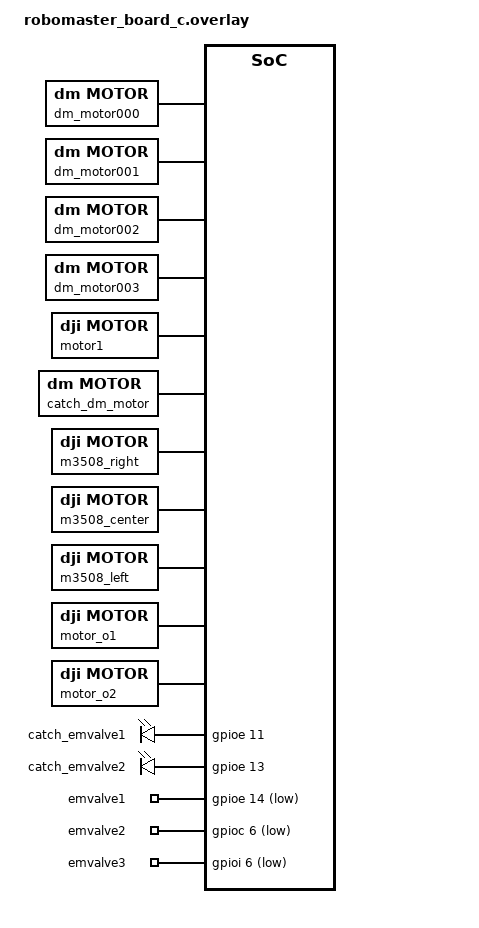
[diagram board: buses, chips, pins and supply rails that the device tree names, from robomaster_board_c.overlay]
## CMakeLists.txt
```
cmake_minimum_required(VERSION 3.20.0)

find_package(Zephyr REQUIRED HINTS $ENV{ZEPHYR_BASE})
project(team_usb_integrated)

target_sources(app PRIVATE
    src/main.c
    src/usb_control.c
    src/module_r1_catch.c
    src/module_lift.c
    src/module_sbus2.c
)
```

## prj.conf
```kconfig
CONFIG_MAIN_THREAD_PRIORITY=7
CONFIG_SYSTEM_WORKQUEUE_STACK_SIZE=4096

CONFIG_LOG=y
CONFIG_LOG_MODE_DEFERRED=y
CONFIG_LOG_BUFFER_SIZE=4096
CONFIG_CBPRINTF_FP_SUPPORT=y
CONFIG_UART_CONSOLE=y

CONFIG_ARES=y
CONFIG_ARES_COMM_LIB=y
CONFIG_DUAL_PROPOSE_PROTOCOL=y
CONFIG_USB_BULK_INTERFACE=y
CONFIG_UDC_DRIVER_HIGH_SPEED_SUPPORT_ENABLED=n
CONFIG_USBD_MAX_SPEED_FULL=y
CONFIG_NET_BUF=y

CONFIG_MOTOR=y
CONFIG_MOTOR_DJI=y
CONFIG_MOTOR_DM=y

CONFIG_CAN=y
CONFIG_CAN_INIT_PRIORITY=80

CONFIG_PID=y
CONFIG_GPIO=y
```

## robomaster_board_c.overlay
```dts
&cdc_acm_uart0 {
	status = "disabled";
};

&usart6 {
	status = "disabled";
};

/ {
	lift_mit: lift_mit {
		#controller-cells = <0>;
		compatible = "pid,mit";
		k_p = "5";
		k_i = "0.0";
		k_d = "1.5";
		offset = "1.2";
	};

	catch_angle_pid: catch_angle_pid {
		#controller-cells = <0>;
		compatible = "pid,single";
		k_p = "2.0";
		k_i = "0";
		k_d = "10.0";
	};

	catch_speed_pid: catch_speed_pid {
		#controller-cells = <0>;
		compatible = "pid,single";
		k_p = "0.3";
		k_i = "0";
		k_d = "0.02";
	};

	catch_dm_mit: catch_dm_mit {
		compatible = "pid,mit";
		k_p = "5.0";
		k_d = "1.0";
	};

	speed_pid_m3508: speed_pid_m3508 {
		compatible = "pid,single";
		#controller-cells = <0>;
		k_p = "0.2";
		k_i = "10000";
		k_d = "0.01";
		i_max = "25";
		detri_lpf = "0.95";
		out_max = "1.8";
	};

	angle_pid_m3508: angle_pid_m3508 {
		compatible = "pid,single";
		#controller-cells = <0>;
		k_p = "2";
		k_i = "0";
		k_d = "0.3";
		out_max = "200";
	};

	angle_pid_sbus2: angle_pid_sbus2 {
		#controller-cells = <0>;
		compatible = "pid,single";
		k_p = "2";
		k_i = "0";
		k_d = "10";
	};

	speed_pid_sbus2: speed_pid_sbus2 {
		#controller-cells = <0>;
		compatible = "pid,single";
		k_p = "0.3";
		k_i = "0";
		k_d = "0.02";
	};

	dm_motor000: dm_motor000 {
		compatible = "dm,motor";
		id = <1>;
		rx_id = <0x1A>;
		tx_id = <0x0A>;
		v_max = "785";
		p_max = "95.5";
		status = "okay";
		can_channel = <&can1>;
		controllers = <&lift_mit>;
		capabilities = "mit";
		t_max = "5";
		freq = <1000>;
	};

	dm_motor001: dm_motor001 {
		compatible = "dm,motor";
		id = <2>;
		rx_id = <0x1B>;
		tx_id = <0x0B>;
		v_max = "785";
		p_max = "95.5";
		status = "okay";
		can_channel = <&can1>;
		controllers = <&lift_mit>;
		capabilities = "mit";
		t_max = "5";
		freq = <1000>;
	};

	dm_motor002: dm_motor002 {
		compatible = "dm,motor";
		id = <3>;
		rx_id = <0x1C>;
		tx_id = <0x0C>;
		v_max = "785";
		p_max = "95.5";
		status = "okay";
		can_channel = <&can1>;
		controllers = <&lift_mit>;
		capabilities = "mit";
		t_max = "5";
		freq = <1000>;
	};

	dm_motor003: dm_motor003 {
		compatible = "dm,motor";
		id = <4>;
		rx_id = <0x1D>;
		tx_id = <0x0D>;
		v_max = "785";
		p_max = "95.5";
		status = "okay";
		can_channel = <&can1>;
		controllers = <&lift_mit>;
		capabilities = "mit";
		t_max = "5";
		freq = <1000>;
	};

	motor1: motor1 {
		compatible = "dji,motor";
		is_m2006;
		id = <1>;
		rx_id = <0x201>;
		tx_id = <0x200>;
		gear_ratio = "36.0";
		status = "okay";
		can_channel = <&can2>;
		controllers = <&catch_angle_pid &catch_speed_pid>;
		capabilities = "angle", "speed";
	};

	catch_dm_motor: catch_dm_motor {
		compatible = "dm,motor";
		id = <5>;
		rx_id = <0x19>;
		tx_id = <0x09>;
		v_max = "785";
		status = "okay";
		can_channel = <&can1>;
		controllers = <&catch_dm_mit>;
		capabilities = "mit";
		v_max = "0.5";
		t_max = "5";
		freq = <200>;
	};

	m3508_right: m3508_right {
		compatible = "dji,motor";
		is_m3508;
		id = <5>;
		rx_id = <0x205>;
		tx_id = <0x1FF>;
		gear_ratio = "19.2";
		status = "okay";
		can_channel = <&can2>;
		controllers = <&angle_pid_m3508 &speed_pid_m3508>;
		capabilities = "angle", "speed";
	};

	m3508_center: m3508_center {
		compatible = "dji,motor";
		is_m3508;
		id = <6>;
		rx_id = <0x206>;
		tx_id = <0x1FF>;
		gear_ratio = "19.2";
		status = "okay";
		can_channel = <&can2>;
		controllers = <&angle_pid_m3508 &speed_pid_m3508>;
		capabilities = "angle", "speed";
	};

	m3508_left: m3508_left {
		compatible = "dji,motor";
		is_m3508;
		id = <7>;
		rx_id = <0x207>;
		tx_id = <0x1FF>;
		gear_ratio = "19.2";
		status = "okay";
		can_channel = <&can2>;
		controllers = <&angle_pid_m3508 &speed_pid_m3508>;
		capabilities = "angle", "speed";
	};

	motor_o1: motor_o1 {
		compatible = "dji,motor";
		is_m2006;
		id = <2>;
		rx_id = <0x202>;
		tx_id = <0x200>;
		gear_ratio = "36";
		status = "okay";
		can_channel = <&can2>;
		controllers = <&angle_pid_sbus2 &speed_pid_sbus2>;
		capabilities = "angle", "speed";
	};

	motor_o2: motor_o2 {
		compatible = "dji,motor";
		is_m2006;
		id = <3>;
		rx_id = <0x203>;
		tx_id = <0x200>;
		gear_ratio = "36";
		status = "okay";
		can_channel = <&can2>;
		controllers = <&angle_pid_sbus2 &speed_pid_sbus2>;
		capabilities = "angle", "speed";
	};

	catch_valves {
		compatible = "gpio-leds";

		catch_emvalve1: catch_emvalve1 {
			gpios = <&gpioe 11 GPIO_ACTIVE_HIGH>;
			label = "catch_emvalve1";
		};

		catch_emvalve2: catch_emvalve2 {
			gpios = <&gpioe 13 GPIO_ACTIVE_HIGH>;
			label = "catch_emvalve2";
		};
	};

	sbus_relays {
		compatible = "gpio-keys";

		emvalve1: emvalve1 {
			gpios = <&gpioe 14 GPIO_ACTIVE_LOW>;
			label = "emvalve1";
		};

		emvalve2: emvalve2 {
			gpios = <&gpioc 6 GPIO_ACTIVE_LOW>;
			label = "emvalve2";
		};

		emvalve3: emvalve3 {
			gpios = <&gpioi 6 GPIO_ACTIVE_LOW>;
			label = "emvalve3";
		};
	};
};
```

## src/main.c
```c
#include <string.h>

#include <zephyr/kernel.h>
#include <zephyr/logging/log.h>

#include "control_packet.h"
#include "module_lift.h"
#include "module_r1_catch.h"
#include "module_sbus2.h"
#include "usb_control.h"

LOG_MODULE_REGISTER(team_usb_integrated, LOG_LEVEL_INF);

int main(void)
{
	int ret;
	struct team_usb_packet packet;

	memset(&packet, 0, sizeof(packet));

	LOG_INF("team usb integrated start");

	ret = usb_control_init();
	if (ret != 0) {
		return ret;
	}

	ret = module_r1_catch_init();
	if (ret != 0) {
		LOG_WRN("R1 catch module unavailable: %d", ret);
	}

	ret = module_lift_init();
	if (ret != 0) {
		LOG_WRN("lift module unavailable: %d", ret);
	}

	ret = module_sbus2_init();
	if (ret != 0) {
		LOG_WRN("sbus_2 module unavailable: %d", ret);
	}

	while (1) {
		bool packet_updated = usb_control_poll(&packet, K_MSEC(5));

		module_r1_catch_update(&packet, packet_updated);
		module_lift_update(&packet, packet_updated);
		module_sbus2_update(&packet, packet_updated);
	}

	return 0;
}
```

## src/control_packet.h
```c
#ifndef TEAM_USB_CONTROL_PACKET_H_
#define TEAM_USB_CONTROL_PACKET_H_

#include <stdbool.h>
#include <stdint.h>

#include <zephyr/sys/util.h>

#define TEAM_USB_SYNC_ID 0x0303
#define TEAM_USB_FLOAT_NUM 7
#define TEAM_USB_BUTTON_MASK_NUM 3

enum team_usb_data_index {
	TEAM_USB_IDX_BUTTONS_0_15 = 0,
	TEAM_USB_IDX_BUTTONS_16_31,
	TEAM_USB_IDX_BUTTONS_32_47,
	TEAM_USB_IDX_LX,
	TEAM_USB_IDX_LY,
	TEAM_USB_IDX_RX,
	TEAM_USB_IDX_RY,
};

struct team_usb_packet {
	float raw[TEAM_USB_FLOAT_NUM];
	uint16_t button_masks[TEAM_USB_BUTTON_MASK_NUM];
	uint32_t rx_count;
};

static inline uint16_t team_usb_float_to_mask(float value)
{
	if (value <= 0.0f) {
		return 0U;
	}

	if (value >= 65535.0f) {
		return UINT16_MAX;
	}

	return (uint16_t)(value + 0.5f);
}

static inline bool team_usb_button_pressed(const struct team_usb_packet *packet, uint8_t button_id)
{
	return (packet->button_masks[button_id / 16U] & BIT(button_id % 16U)) != 0U;
}

#endif
```

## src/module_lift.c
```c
#include <errno.h>
#include <stdbool.h>

#include <zephyr/device.h>
#include <zephyr/devicetree.h>
#include <zephyr/drivers/motor.h>
#include <zephyr/kernel.h>
#include <zephyr/logging/log.h>
#include <zephyr/sys/util.h>

#include "module_lift.h"

LOG_MODULE_REGISTER(team_usb_lift, LOG_LEVEL_INF);

#define CTRL_BUTTON_A_ID 3U
#define CTRL_BUTTON_Y_ID 6U

#define DMOTOR_NODE1 DT_NODELABEL(dm_motor000)
#define DMOTOR_NODE2 DT_NODELABEL(dm_motor001)
#define DMOTOR_NODE3 DT_NODELABEL(dm_motor002)
#define DMOTOR_NODE4 DT_NODELABEL(dm_motor003)

static const struct device *dm_motor[4] = {
	DEVICE_DT_GET(DMOTOR_NODE1),
	DEVICE_DT_GET(DMOTOR_NODE2),
	DEVICE_DT_GET(DMOTOR_NODE3),
	DEVICE_DT_GET(DMOTOR_NODE4),
};

static float action[4];
static const int rank_map[4] = {-1, -1, 1, 1};
static const float motor_ff[4] = {0.5f, 1.8f, 0.5f, 1.8f};
static const float gear_angle_ac[] = {0.0f, 360.0f, 720.0f, 1440.0f, 3600.0f, 4800.0f};
static const float gear_angle_bd[] = {0.0f, 410.0f, 770.0f, 1490.0f, 3650.0f, 4850.0f};

static int current_gear;
static bool last_a_pressed;
static bool last_y_pressed;
static bool module_ready;

static void lifthigh(int id, float target_deg)
{
	float torque_ff = 0.0f;

	if (!device_is_ready(dm_motor[id])) {
		return;
	}

	if (target_deg > 0.0f) {
		torque_ff = motor_ff[id];
	} else if (target_deg < 0.0f) {
		torque_ff = -motor_ff[id];
	}
	// LOG_INF("current_gear: %d", current_gear);
	motor_set_mit(dm_motor[id], 0.0f, target_deg, torque_ff);
}

static void hold_current_target(void)
{
	for (int i = 0; i < 4; i++) {
		lifthigh(i, action[i]);
	}
}

static void apply_current_gear(void)
{
	float target_angle_ac = gear_angle_ac[current_gear];
	float target_angle_bd = gear_angle_bd[current_gear];

	action[0] = target_angle_ac * rank_map[0];
	action[1] = target_angle_bd * rank_map[1];
	action[2] = target_angle_ac * rank_map[2];
	action[3] = target_angle_bd * rank_map[3];
	LOG_INF("lift gear=%d/%d", current_gear + 1, ARRAY_SIZE(gear_angle_ac));
}

static void gear_step(int delta)
{
	int prev_gear = current_gear;

	if (delta > 0 && current_gear < (int)ARRAY_SIZE(gear_angle_ac) - 1) {
		current_gear++;
	} else if (delta < 0 && current_gear > 0) {
		current_gear--;
	}

	if (current_gear == prev_gear) {
		return;
	}

	apply_current_gear();
}

int module_lift_init(void)
{
	for (int i = 0; i < 4; i++) {
		if (!device_is_ready(dm_motor[i])) {
			LOG_WRN("lift motor %d not ready, module disabled", i);
			return -ENODEV;
		}

		motor_control(dm_motor[i], ENABLE_MOTOR);
		k_msleep(10);
		motor_set_mode(dm_motor[i], MIT);
		k_msleep(10);
	}

	apply_current_gear();
	module_ready = true;
	LOG_INF("lift module ready");
	return 0;
}

void module_lift_update(const struct team_usb_packet *packet, bool packet_updated)
{
	bool a_pressed;
	bool y_pressed;

	if (!module_ready) {
		return;
	}

	if (packet_updated) {
		a_pressed = team_usb_button_pressed(packet, CTRL_BUTTON_A_ID);
		y_pressed = team_usb_button_pressed(packet, CTRL_BUTTON_Y_ID);

		if (y_pressed && !last_y_pressed) {
			gear_step(1);
		}

		if (a_pressed && !last_a_pressed) {
			gear_step(-1);
		}

		last_a_pressed = a_pressed;
		last_y_pressed = y_pressed;
	}

	hold_current_target();
}
```

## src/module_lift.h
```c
#ifndef TEAM_USB_MODULE_LIFT_H_
#define TEAM_USB_MODULE_LIFT_H_

#include <stdbool.h>

#include "control_packet.h"

int module_lift_init(void);
void module_lift_update(const struct team_usb_packet *packet, bool packet_updated);

#endif
```

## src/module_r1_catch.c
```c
#include <errno.h>
#include <stdbool.h>

#include <zephyr/device.h>
#include <zephyr/devicetree.h>
#include <zephyr/drivers/gpio.h>
#include <zephyr/drivers/motor.h>
#include <zephyr/kernel.h>
#include <zephyr/logging/log.h>

#include "module_r1_catch.h"

LOG_MODULE_REGISTER(team_usb_r1_catch, LOG_LEVEL_INF);

/* Button IDs (bits in the USB packet) */
#define CTRL_BTN_SWITCH  43U
#define CTRL_BTN_PREPARE 40U
#define CTRL_BTN_RAISE   41U
#define CTRL_BTN_ATTACK  42U

/* Posture states — flow tracking / logging only */
enum posture_state {
	POSTURE_P1,	/* idle:   arm=0°,    DM=0°,   valve2=off */
	POSTURE_P2,	/* ready4pluggin done:  arm=90°, DM=0°,   valve2=on  */
	POSTURE_P3,	/* raise:  arm=90°,   DM=90°,  valve2=on  */
	POSTURE_P4,	/* attack: arm=180.0°, DM=90.0°, valve2=off */
};

#define CATCH_ARM_NODE    DT_NODELABEL(motor1)
#define CATCH_DM_NODE     DT_NODELABEL(catch_dm_motor)
#define CATCH_VALVE_1_NODE DT_NODELABEL(catch_emvalve1)
#define CATCH_VALVE_2_NODE DT_NODELABEL(catch_emvalve2)

static const struct device    *catch_arm_motor = DEVICE_DT_GET(CATCH_ARM_NODE);
static const struct device    *catch_dm_motor  = DEVICE_DT_GET(CATCH_DM_NODE);
static const struct gpio_dt_spec catch_valve1  = GPIO_DT_SPEC_GET(CATCH_VALVE_1_NODE, gpios);
static const struct gpio_dt_spec catch_valve2  = GPIO_DT_SPEC_GET(CATCH_VALVE_2_NODE, gpios);

/* ---- MCU-persisted state (target values, not posture-enum-indexed) ---- */
static enum posture_state current_posture = POSTURE_P1;
static float   arm_target    = 0.0f;
static float   dm_target     = 0.0f;
static bool    valve2_target = false;
static bool    valve1_target = false; /* controlled by Button 43 (Switch) */

/* ---- Edge-detection history (Prepare / Raise / Attack only) ---- */
static bool prepare_prev;
static bool raise_prev;
static bool attack_prev;
static bool module_ready;

/* ------------------------------------------------------------------ */
/*  Apply the current MCU state to all actuators (called every cycle)  */
/* ------------------------------------------------------------------ */
static void apply_current_state(void)
{
	motor_set_angle(catch_arm_motor, arm_target);
	motor_set_mit(catch_dm_motor, 0.0f, dm_target, 0.0f);
	gpio_pin_set_dt(&catch_valve2, valve2_target);
	gpio_pin_set_dt(&catch_valve1, valve1_target);
}

/* ------------------------------------------------------------------ */
/*  Sequence handlers (blocking k_msleep — mirror R1_catch/main.c)     */
/* ------------------------------------------------------------------ */

/* ready4pluggin — Prepare 序列
 *   arm 45° (中间角度防飞出) → arm 90° → valve2 ON → DM 0° */
static void handle_prepare(void)
{
	LOG_INF("prepare: arm → 45°");
	arm_target = 45.0f;
	k_msleep(100);

	arm_target = 90.0f;
	LOG_INF("prepare: arm → 90°");
	k_msleep(600);

	valve2_target = true;
	gpio_pin_set_dt(&catch_valve2, true);
	LOG_INF("prepare: valve2 ON");
	k_msleep(500);

	dm_target = 0.0f;
	current_posture = POSTURE_P2;
	LOG_INF("prepare done → P2");
}

/* Raise — DM 90° */
static void handle_raise(void)
{
	dm_target = 90.0f;
	current_posture = POSTURE_P3;
	LOG_INF("raise: DM → 90° → P3");
}

/* ready4attack — Attack 序列
 *   valve2 OFF → arm 179.5° */
static void handle_attack(void)
{
	valve2_target = false;
	gpio_pin_set_dt(&catch_valve2, false);
	LOG_INF("attack: valve2 OFF");
	k_msleep(300);

	arm_target = 180.0f;
	dm_target = 90.0f;
	current_posture = POSTURE_P4;
	LOG_INF("attack: arm → 180.0°, DM → 90.0° → P4");
}

/* ------------------------------------------------------------------ */
/*  Init                                                                */
/* ------------------------------------------------------------------ */
int module_r1_catch_init(void)
{
	if (!device_is_ready(catch_arm_motor) || !device_is_ready(catch_dm_motor)) {
		LOG_WRN("R1 catch motors not ready, module disabled");
		return -ENODEV;
	}

	if (!device_is_ready(catch_valve1.port) || !device_is_ready(catch_valve2.port)) {
		LOG_WRN("R1 catch valves not ready, module disabled");
		return -ENODEV;
	}

	gpio_pin_configure_dt(&catch_valve1, GPIO_OUTPUT_INACTIVE);
	gpio_pin_configure_dt(&catch_valve2, GPIO_OUTPUT_INACTIVE);

	motor_control(catch_arm_motor, SET_ZERO);
	motor_control(catch_dm_motor, SET_ZERO);
	k_msleep(500);
	motor_control(catch_dm_motor, ENABLE_MOTOR);
	motor_set_mode(catch_dm_motor, MIT);

	/* Initial state: P1 (idle) */
	arm_target   = 0.0f;
	dm_target    = 0.0f;
	valve2_target = false;
	valve1_target = false;
	apply_current_state();

	module_ready = true;
	LOG_INF("R1 catch module ready");
	return 0;
}

/* ------------------------------------------------------------------ */
/*  Update — called from main loop every ~5 ms                         */
/* ------------------------------------------------------------------ */
void module_r1_catch_update(const struct team_usb_packet *packet, bool packet_updated)
{
	if (!module_ready) {
		return;
	}

	if (packet_updated) {
		/* ---- Button 43 (Switch) — direct state mapping ---- */
		valve1_target = team_usb_button_pressed(packet, CTRL_BTN_SWITCH);

		/* ---- Button 40 (Prepare) — edge → ready4pluggin  ---- */
		{
			bool pressed = team_usb_button_pressed(packet, CTRL_BTN_PREPARE);
			if (pressed && !prepare_prev) {
				handle_prepare();
			}
			prepare_prev = pressed;
		}

		/* ---- Button 41 (Raise) — edge → DM 90°          ---- */
		{
			bool pressed = team_usb_button_pressed(packet, CTRL_BTN_RAISE);
			if (pressed && !raise_prev) {
				handle_raise();
			}
			raise_prev = pressed;
		}

		/* ---- Button 42 (Attack) — edge → ready4attack   ---- */
		{
			bool pressed = team_usb_button_pressed(packet, CTRL_BTN_ATTACK);
			if (pressed && !attack_prev) {
				handle_attack();
			}
			attack_prev = pressed;
		}
	}

	/* Drive hardware from MCU state (every cycle, regardless of packet) */
	apply_current_state();
}
```

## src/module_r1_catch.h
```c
#ifndef TEAM_USB_MODULE_R1_CATCH_H_
#define TEAM_USB_MODULE_R1_CATCH_H_

#include <stdbool.h>

#include "control_packet.h"

int module_r1_catch_init(void);
void module_r1_catch_update(const struct team_usb_packet *packet, bool packet_updated);

#endif
```

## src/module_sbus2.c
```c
#include <errno.h>
#include <stdbool.h>

#include <zephyr/device.h>
#include <zephyr/devicetree.h>
#include <zephyr/drivers/gpio.h>
#include <zephyr/drivers/motor.h>
#include <zephyr/logging/log.h>

#include "module_sbus2.h"

LOG_MODULE_REGISTER(team_usb_sbus2, LOG_LEVEL_INF);

#define CTRL_BTN_M3508_LEFT 32U
#define CTRL_BTN_M3508_CENTER 33U
#define CTRL_BTN_M3508_RIGHT 34U
#define CTRL_BTN_M2006_LEFT 35U
#define CTRL_BTN_M2006_RIGHT 36U
#define CTRL_BTN_RELAY_LEFT 37U
#define CTRL_BTN_RELAY_CENTER 38U
#define CTRL_BTN_RELAY_RIGHT 39U

#define M3508_LEFT_EXTEND_ANGLE 240.5f
#define M3508_LEFT_RETRACT_ANGLE -5.0f
#define M3508_CENTER_EXTEND_ANGLE -240.5f
#define M3508_CENTER_RETRACT_ANGLE 10.0f
#define M3508_RIGHT_EXTEND_ANGLE -240.5f
#define M3508_RIGHT_RETRACT_ANGLE 10.0f

#define M2006_LEFT_DOWN_ANGLE -170.0f
#define M2006_RIGHT_DOWN_ANGLE 170.0f
#define M2006_UP_ANGLE 0.0f

#define M3508_LEFT_NODE DT_NODELABEL(m3508_left)
#define M3508_CENTER_NODE DT_NODELABEL(m3508_center)
#define M3508_RIGHT_NODE DT_NODELABEL(m3508_right)
#define M2006_LEFT_NODE DT_NODELABEL(motor_o1)
#define M2006_RIGHT_NODE DT_NODELABEL(motor_o2)
#define RELAY_LEFT_NODE DT_NODELABEL(emvalve1)
#define RELAY_CENTER_NODE DT_NODELABEL(emvalve2)
#define RELAY_RIGHT_NODE DT_NODELABEL(emvalve3)

static const struct device *m3508_left = DEVICE_DT_GET(M3508_LEFT_NODE);
static const struct device *m3508_center = DEVICE_DT_GET(M3508_CENTER_NODE);
static const struct device *m3508_right = DEVICE_DT_GET(M3508_RIGHT_NODE);
static const struct device *m2006_left = DEVICE_DT_GET(M2006_LEFT_NODE);
static const struct device *m2006_right = DEVICE_DT_GET(M2006_RIGHT_NODE);
static const struct gpio_dt_spec relay_left = GPIO_DT_SPEC_GET(RELAY_LEFT_NODE, gpios);
static const struct gpio_dt_spec relay_center = GPIO_DT_SPEC_GET(RELAY_CENTER_NODE, gpios);
static const struct gpio_dt_spec relay_right = GPIO_DT_SPEC_GET(RELAY_RIGHT_NODE, gpios);

static bool module_ready;
static uint32_t log_count;

int module_sbus2_init(void)
{
	if (!device_is_ready(m3508_left) || !device_is_ready(m3508_center) ||
	    !device_is_ready(m3508_right) || !device_is_ready(m2006_left) ||
	    !device_is_ready(m2006_right)) {
		LOG_WRN("sbus_2 motors not ready, module disabled");
		return -ENODEV;
	}

	if (!device_is_ready(relay_left.port) || !device_is_ready(relay_center.port) ||
	    !device_is_ready(relay_right.port)) {
		LOG_WRN("sbus_2 relays not ready, module disabled");
		return -ENODEV;
	}

	motor_control(m3508_left, ENABLE_MOTOR);
	motor_control(m3508_center, ENABLE_MOTOR);
	motor_control(m3508_right, ENABLE_MOTOR);
	motor_control(m2006_left, ENABLE_MOTOR);
	motor_control(m2006_right, ENABLE_MOTOR);

	gpio_pin_configure_dt(&relay_left, GPIO_OUTPUT_INACTIVE);
	gpio_pin_configure_dt(&relay_center, GPIO_OUTPUT_INACTIVE);
	gpio_pin_configure_dt(&relay_right, GPIO_OUTPUT_INACTIVE);

	module_ready = true;
	LOG_INF("sbus_2 module ready");
	return 0;
}

void module_sbus2_update(const struct team_usb_packet *packet, bool packet_updated)
{
	bool m3508_left_extend;
	bool m3508_center_extend;
	bool m3508_right_extend;
	bool m2006_left_down;
	bool m2006_right_down;
	bool relay_left_on;
	bool relay_center_on;
	bool relay_right_on;
	float m3508_left_angle;
	float m3508_center_angle;
	float m3508_right_angle;
	float m2006_left_angle;
	float m2006_right_angle;

	if (!module_ready) {
		return;
	}

	m3508_left_extend = team_usb_button_pressed(packet, CTRL_BTN_M3508_LEFT);
	m3508_center_extend = team_usb_button_pressed(packet, CTRL_BTN_M3508_CENTER);
	m3508_right_extend = team_usb_button_pressed(packet, CTRL_BTN_M3508_RIGHT);
	m2006_left_down = team_usb_button_pressed(packet, CTRL_BTN_M2006_LEFT);
	m2006_right_down = team_usb_button_pressed(packet, CTRL_BTN_M2006_RIGHT);
	relay_left_on = team_usb_button_pressed(packet, CTRL_BTN_RELAY_LEFT);
	relay_center_on = team_usb_button_pressed(packet, CTRL_BTN_RELAY_CENTER);
	relay_right_on = team_usb_button_pressed(packet, CTRL_BTN_RELAY_RIGHT);

	m3508_left_angle = m3508_left_extend ? M3508_LEFT_EXTEND_ANGLE : M3508_LEFT_RETRACT_ANGLE;
	m3508_center_angle =
		m3508_center_extend ? M3508_CENTER_EXTEND_ANGLE : M3508_CENTER_RETRACT_ANGLE;
	m3508_right_angle = m3508_right_extend ? M3508_RIGHT_EXTEND_ANGLE : M3508_RIGHT_RETRACT_ANGLE;
	m2006_left_angle = m2006_left_down ? M2006_LEFT_DOWN_ANGLE : M2006_UP_ANGLE;
	m2006_right_angle = m2006_right_down ? M2006_RIGHT_DOWN_ANGLE : M2006_UP_ANGLE;

	motor_set_angle(m3508_left, m3508_left_angle);
	motor_set_angle(m3508_center, m3508_center_angle);
	motor_set_angle(m3508_right, m3508_right_angle);
	motor_set_angle(m2006_left, m2006_left_angle);
	motor_set_angle(m2006_right, m2006_right_angle);

	gpio_pin_set_dt(&relay_left, relay_left_on);
	gpio_pin_set_dt(&relay_center, relay_center_on);
	gpio_pin_set_dt(&relay_right, relay_right_on);

	if (!packet_updated || (log_count++ % 10U) != 0U) {
		return;
	}

	LOG_INF("sbus2 rx=%u vbtn=%d%d%d%d%d%d%d%d sticks L(%.3f, %.3f) R(%.3f, %.3f)",
		packet->rx_count,
		m3508_left_extend, m3508_center_extend, m3508_right_extend,
		m2006_left_down, m2006_right_down,
		relay_left_on, relay_center_on, relay_right_on,
		(double)packet->raw[TEAM_USB_IDX_LX], (double)packet->raw[TEAM_USB_IDX_LY],
		(double)packet->raw[TEAM_USB_IDX_RX], (double)packet->raw[TEAM_USB_IDX_RY]);
}
```

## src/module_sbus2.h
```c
#ifndef TEAM_USB_MODULE_SBUS2_H_
#define TEAM_USB_MODULE_SBUS2_H_

#include <stdbool.h>

#include "control_packet.h"

int module_sbus2_init(void);
void module_sbus2_update(const struct team_usb_packet *packet, bool packet_updated);

#endif
```

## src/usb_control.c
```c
#include <errno.h>
#include <string.h>

#include <zephyr/kernel.h>
#include <zephyr/logging/log.h>

#include <ares/ares_comm.h>
#include <ares/interface/usb/usb_bulk.h>
#include <ares/protocol/dual/dual_protocol.h>

#include "usb_control.h"

LOG_MODULE_REGISTER(team_usb_comm, LOG_LEVEL_INF);

DUAL_PROPOSE_PROTOCOL_DEFINE(control_protocol);
ARES_BULK_INTERFACE_DEFINE(usb_bulk_interface);

static float ctrl_rx[TEAM_USB_FLOAT_NUM];
static float ctrl_data[TEAM_USB_FLOAT_NUM];
static uint32_t ctrl_rx_count;
static sync_table_t *control_rx;

K_SEM_DEFINE(ctrl_rx_sem, 0, 1);

static void control_rx_cb(int status)
{
	if (status != SYNC_PACK_STATUS_DONE) {
		return;
	}

	memcpy(ctrl_data, ctrl_rx, sizeof(ctrl_data));
	ctrl_rx_count++;
	k_sem_give(&ctrl_rx_sem);
}

int usb_control_init(void)
{
	int ret;

	ret = ares_bind_interface(&usb_bulk_interface, &control_protocol);
	if (ret != 0) {
		LOG_ERR("failed to initialize ARES USB interface: %d", ret);
		return ret;
	}

	control_rx = dual_sync_add(&control_protocol, TEAM_USB_SYNC_ID, (uint8_t *)ctrl_rx,
				   sizeof(ctrl_rx), control_rx_cb);
	if (control_rx == NULL) {
		LOG_ERR("failed to register control sync pack");
		return -ENOMEM;
	}

	LOG_INF("USB control ready: sync id=0x%04x payload=%d floats",
		TEAM_USB_SYNC_ID, TEAM_USB_FLOAT_NUM);
	return 0;
}

bool usb_control_poll(struct team_usb_packet *packet, k_timeout_t timeout)
{
	if (k_sem_take(&ctrl_rx_sem, timeout) != 0) {
		return false;
	}

	memcpy(packet->raw, ctrl_data, sizeof(packet->raw));
	packet->button_masks[0] = team_usb_float_to_mask(packet->raw[TEAM_USB_IDX_BUTTONS_0_15]);
	packet->button_masks[1] = team_usb_float_to_mask(packet->raw[TEAM_USB_IDX_BUTTONS_16_31]);
	packet->button_masks[2] = team_usb_float_to_mask(packet->raw[TEAM_USB_IDX_BUTTONS_32_47]);
	packet->rx_count = ctrl_rx_count;
	LOG_INF("b47=%d", team_usb_button_pressed(packet, 47));

	return true;
}
```
